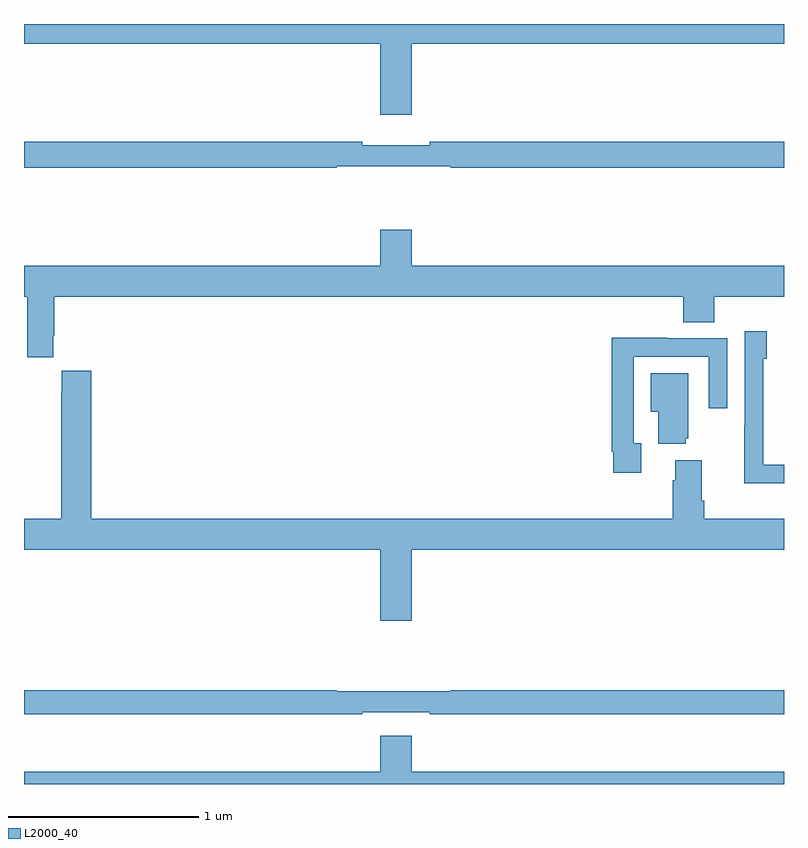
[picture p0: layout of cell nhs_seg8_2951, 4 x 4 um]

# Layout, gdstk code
import gdstk
lib = gdstk.Library(unit=1e-6, precision=1e-09)
def P(c, l, *ps):  # polygons
    for p in ps: c.add(gdstk.Polygon(p, *l))
L2000_40 = (2000, 40)

nhs_seg8_2951 = lib.new_cell('nhs_seg8_2951')
P(nhs_seg8_2951, L2000_40, [(297.04,1153.796),(299,1153.796),(299,1153.9),(295,1153.9),(295,1153.796),(296.876,1153.796),(296.876,1153.422),(297.04,1153.422)],
  [(296.645,1153.152),(297.245,1153.152),(297.245,1153.144),(299,1153.144),(299,1153.28),(297.136,1153.28),(297.136,1153.261),(296.78,1153.261),(296.78,1153.28),(295,1153.28),(295,1153.144),(296.645,1153.144)],
  [(295.153,1152.259),(295.16,1152.259),(295.16,1152.464),(298.469,1152.464),(298.469,1152.331),(298.634,1152.331),(298.634,1152.464),(299,1152.464),(299,1152.628),(297.04,1152.628),(297.04,1152.817),(296.876,1152.817),(296.876,1152.628),(295,1152.628),(295,1152.464),(295.016,1152.464),(295.016,1152.147),(295.153,1152.147)],
  [(299,1151.58),(298.89,1151.58),(298.89,1152.138),(298.909,1152.138),(298.909,1152.283),(298.794,1152.283),(298.794,1151.789),(298.792,1151.789),(298.792,1151.483),(299,1151.483)],
  [(298.249,1151.694),(298.209,1151.694),(298.209,1152.15),(298.605,1152.15),(298.605,1151.877),(298.701,1151.877),(298.701,1152.246),(298.385,1152.246),(298.385,1152.248),(298.093,1152.248),(298.093,1151.65),(298.101,1151.65),(298.101,1151.538),(298.249,1151.538)],
  [(295.355,1152.076),(295.199,1152.076),(295.199,1151.963),(295.195,1151.963),(295.195,1151.296),(295,1151.296),(295,1151.132),(296.876,1151.132),(296.876,1150.758),(297.04,1150.758),(297.04,1151.132),(299,1151.132),(299,1151.296),(298.58,1151.296),(298.58,1151.392),(298.567,1151.392),(298.567,1151.605),(298.427,1151.605),(298.427,1151.498),(298.415,1151.498),(298.415,1151.296),(295.355,1151.296)],
  [(298.484,1151.721),(298.495,1151.721),(298.495,1152.061),(298.298,1152.061),(298.298,1151.858),(298.337,1151.858),(298.337,1151.69),(298.484,1151.69)],
  [(296.78,1150.278),(297.136,1150.278),(297.136,1150.266),(299,1150.266),(299,1150.394),(297.245,1150.394),(297.245,1150.387),(296.645,1150.387),(296.645,1150.394),(295,1150.394),(295,1150.266),(296.78,1150.266)],
  [(299,1149.964),(297.04,1149.964),(297.04,1150.153),(296.876,1150.153),(296.876,1149.964),(295,1149.964),(295,1149.9),(299,1149.9)])

lib.write_gds('nhs_seg8_2951.gds')
